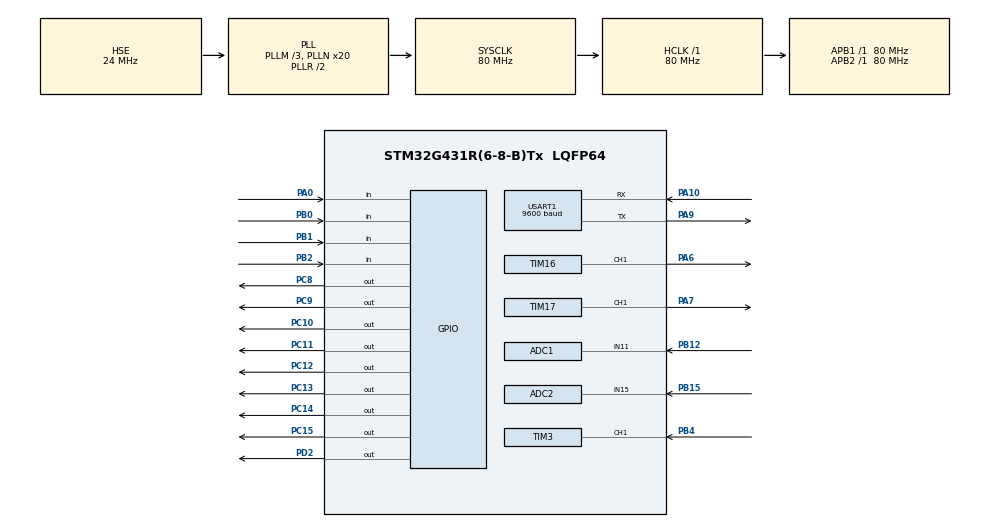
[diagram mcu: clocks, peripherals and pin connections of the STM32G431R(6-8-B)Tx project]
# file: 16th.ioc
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ADC1.Channel-0\#ChannelRegularConversion=ADC_CHANNEL_11
ADC1.NbrOfConversionFlag=1
ADC1.OffsetNumber-0\#ChannelRegularConversion=ADC_OFFSET_NONE
ADC1.Rank-0\#ChannelRegularConversion=1
ADC1.SamplingTime-0\#ChannelRegularConversion=ADC_SAMPLETIME_2CYCLES_5
ADC1.master=1
ADC2.Channel-1\#ChannelRegularConversion=ADC_CHANNEL_15
ADC2.NbrOfConversionFlag=1
ADC2.OffsetNumber-1\#ChannelRegularConversion=ADC_OFFSET_NONE
ADC2.Rank-1\#ChannelRegularConversion=1
ADC2.SamplingTime-1\#ChannelRegularConversion=ADC_SAMPLETIME_2CYCLES_5
Mcu.Family=STM32G4
Mcu.Name=STM32G431R(6-8-B)Tx
Mcu.Package=LQFP64
NVIC.PriorityGroup=NVIC_PRIORITYGROUP_4
NVIC.TIM3_IRQn=true\:0\:0\:false\:false\:true\:true\:true\:true
NVIC.USART1_IRQn=true\:0\:0\:false\:false\:true\:true\:true\:true
PA0.Signal=GPIO_Input
PA10.Mode=Asynchronous
PA10.Signal=USART1_RX
PA13.Mode=Serial_Wire
PA13.Signal=SYS_JTMS-SWDIO
PA14.Mode=Serial_Wire
PA14.Signal=SYS_JTCK-SWCLK
PA6.Signal=S_TIM16_CH1
PA7.Signal=S_TIM17_CH1
PA9.Mode=Asynchronous
PA9.Signal=USART1_TX
PB0.Signal=GPIO_Input
PB1.Signal=GPIO_Input
PB12.Mode=IN11-Single-Ended
PB12.Signal=ADC1_IN11
PB15.Mode=IN15-Single-Ended
PB15.Signal=ADC2_IN15
PB2.Signal=GPIO_Input
PB4.Signal=S_TIM3_CH1
PC10.Signal=GPIO_Output
PC11.Signal=GPIO_Output
PC12.Signal=GPIO_Output
PC13.Signal=GPIO_Output
PC14-OSC32_IN.Signal=GPIO_Output
PC15-OSC32_OUT.Signal=GPIO_Output
PC8.Signal=GPIO_Output
PC9.Signal=GPIO_Output
PD2.Signal=GPIO_Output
PF0-OSC_IN.Mode=HSE-External-Oscillator
PF0-OSC_IN.Signal=RCC_OSC_IN
PF1-OSC_OUT.Mode=HSE-External-Oscillator
PF1-OSC_OUT.Signal=RCC_OSC_OUT
ProjectManager.HeapSize=0x200
ProjectManager.StackSize=0x400
ProjectManager.TargetToolchain=MDK-ARM V5
RCC.ADC12Freq_Value=80000000
RCC.AHBFreq_Value=80000000
RCC.APB1Freq_Value=80000000
RCC.APB1TimFreq_Value=80000000
RCC.APB2Freq_Value=80000000
RCC.APB2TimFreq_Value=80000000
RCC.CortexFreq_Value=80000000
RCC.EXTERNAL_CLOCK_VALUE=12288000
RCC.HCLKFreq_Value=80000000
RCC.HSE_VALUE=24000000
RCC.HSI48_VALUE=48000000
RCC.HSI_VALUE=16000000
RCC.LSE_VALUE=32768
RCC.PLLM=RCC_PLLM_DIV3
RCC.PLLN=20
RCC.PLLSourceVirtual=RCC_PLLSOURCE_HSE
RCC.SYSCLKFreq_VALUE=80000000
RCC.SYSCLKSource=RCC_SYSCLKSOURCE_PLLCLK
RCC.USBFreq_Value=80000000
RCC.VCOOutputFreq_Value=160000000
RTC.AsynchPrediv=127
RTC.Date=15
RTC.Format=RTC_FORMAT_BIN
RTC.Hours=23
RTC.Minutes=59
RTC.Month=RTC_MONTH_JUNE
RTC.Seconds=50
RTC.SynchPrediv=255
RTC.Year=25
SH.S_TIM16_CH1.0=TIM16_CH1,PWM Generation1 CH1
SH.S_TIM17_CH1.0=TIM17_CH1,PWM Generation1 CH1
SH.S_TIM3_CH1.0=TIM3_CH1,Input_Capture1_from_TI1
TIM16.Channel=TIM_CHANNEL_1
TIM16.Prescaler=80-1
TIM17.Channel=TIM_CHANNEL_1
TIM17.PeriodNoDither=100
TIM17.Prescaler=80-1
TIM3.AutoReloadPreload=TIM_AUTORELOAD_PRELOAD_DISABLE
TIM3.Channel-Input_Capture1_from_TI1=TIM_CHANNEL_1
TIM3.Prescaler=80-1
USART1.BaudRate=9600
USART1.VirtualMode-Asynchronous=VM_ASYNC
VP_RTC_VS_RTC_Activate.Mode=RTC_Enabled
VP_RTC_VS_RTC_Calendar.Mode=RTC_Calendar
VP_SYS_VS_DBSignals.Mode=DisableDeadBatterySignals
VP_TIM16_VS_ClockSourceINT.Mode=Enable_Timer
VP_TIM17_VS_ClockSourceINT.Mode=Enable_Timer
VP_TIM3_VS_ClockSourceINT.Mode=Internal
board=custom

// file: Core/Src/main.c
/* USER CODE BEGIN Header */
/**
  ******************************************************************************
  * @file           : main.c
  * @brief          : Main program body
  ******************************************************************************
  * @attention
  *
  * Copyright (c) 2026 STMicroelectronics.
  * All rights reserved.
  *
  * This software is licensed under terms that can be found in the LICENSE file
  * in the root directory of this software component.
  * If no LICENSE file comes with this software, it is provided AS-IS.
  *
  ******************************************************************************
  */
/* USER CODE END Header */
#include "main.h"
#include "adc.h"
#include "rtc.h"
#include "tim.h"
#include "usart.h"
#include "gpio.h"

/* USER CODE BEGIN Includes */
#include "lcd.h"
#include "string.h"
#include "stdio.h"
/* USER CODE END Includes */

/* USER CODE BEGIN PV */
u32 key_time=0;
u32 lcd_time=0;
u8 lcd_state=0;
u8 key_value=0;
u8 key_state=0;
RTC_TimeTypeDef H_M_S_Time;
RTC_DateTypeDef Y_M_D_Time;
RTC_TimeTypeDef H_M_S_setTime;
RTC_DateTypeDef Y_M_D_setTime;
double uart_fre=0;
int uart_duty=0;
int uart_time=0;
char title1[30]="       IDLE   ";
char title2[30]="       PARA   ";
char title3[30]="       OUTP   ";
char title4[30]="       RECD   ";
char str[100]="";
char receiveData[100]="";
char password[30]="";
u8 rx_flg=0;
u32 adc_time=0;
double vol1=0;
double vol2=0;
char mima;
char zidian[26]={'0','1','2','3','4','5','6','7','8','9','A','B','C','D','E','F','X','Y','Z','@','#','$','%','&','=','+'};
u32 ccr=0;
double fre=0;
double fre_fin=0;
double out_fre=10;
double duty=20;
u32 out_time=5;
u8 channel_flg=0;
double ARR=100;
u8 password_flg=0;
char set_password[30]="A35#";
u32 out_flg=0;
u32 pwm_time=0;
u32 rest_time=0;
u32 success_count=0;
double last_s_fre=0;
double last_f_fre=0;
u32 fail_count=0;
u32 mima_wei=0;
RTC_TimeTypeDef H_M_S_last_s_Time;
RTC_TimeTypeDef H_M_S_last_f_Time;
u8 choose_flg=0;
u8 chance_count=3;
u32 fail_time=0;
u8 first_s_flg=0;
u8 first_f_flg=0;
char uart_set_password[30]="";
u8 led1=0;
u8 led2=0;
u8 led3=0;
u8 led_total=0;
u8 blink_flg=0;
u8 blink_mask=0;
u32 blink_time=0;
u8 lock_flg=0;
/* USER CODE END PV */

void SystemClock_Config(void);

/* USER CODE BEGIN 0 */
void key_pro(){
	if(uwTick-key_time<10)return;
	key_time=uwTick;
	key_state=key_scanf();
	if(key_state==1)key_value=1;
	if(key_state==2)key_value=2;
	if(key_state==3)key_value=3;
	if(key_state==4)key_value=4;
	if(key_state==5)key_value=5;
	if(key_state==6)key_value=6;
	if(key_value==1){
		if(lcd_state!=3){
			LCD_Clear(Black);
			lcd_state++;
			if(lcd_state>2)lcd_state=0;
		}
		key_value=0;
	}
	if(key_value==2){
		if(lcd_state==0){
			password[mima_wei]=mima;
			mima_wei++;
		}else if(lcd_state==1){
			choose_flg+=1;
			if(choose_flg>3)choose_flg=0;
		}
		key_value=0;
	}
	if(key_value==3){
		if(lcd_state==0){
			fre_fin=(fre+vol2)/1000;
			if(!strcmp(password,set_password)){
				lcd_state=3;
				LCD_Clear(Black);
				out_flg=1;
				pwm_time=uwTick;
				password_flg=0;
				chance_count=3;
				password_flg=0;
				rest_time=out_time;
				first_s_flg=1;
				H_M_S_last_s_Time.Hours=H_M_S_Time.Hours;
				H_M_S_last_s_Time.Minutes=H_M_S_Time.Minutes;
				H_M_S_last_s_Time.Seconds=H_M_S_Time.Seconds;
				success_count++;
				last_s_fre=fre_fin;
				sprintf(str,"S:%02d%02d%02d%02d%02d%02d",Y_M_D_Time.Year,Y_M_D_Time.Month,Y_M_D_Time.Date,H_M_S_Time.Hours,H_M_S_Time.Minutes,H_M_S_Time.Seconds);
				HAL_UART_Transmit(&huart1,(u8*)str,sizeof(str),0xffff);
			}else{
				lcd_state=3;
				LCD_Clear(Black);
				chance_count--;
				fail_time=uwTick;
				if(chance_count==0)password_flg=2;
				else password_flg=1;
				first_f_flg=1;
				H_M_S_last_f_Time.Hours=H_M_S_Time.Hours;
				H_M_S_last_f_Time.Minutes=H_M_S_Time.Minutes;
				H_M_S_last_f_Time.Seconds=H_M_S_Time.Seconds;
				fail_count++;
				last_f_fre=fre_fin;
				sprintf(str,"F:%02d%02d%02d%02d%02d%02d",Y_M_D_Time.Year,Y_M_D_Time.Month,Y_M_D_Time.Date,H_M_S_Time.Hours,H_M_S_Time.Minutes,H_M_S_Time.Seconds);
				HAL_UART_Transmit(&huart1,(u8*)str,sizeof(str),0xffff);
			}
		}else if(lcd_state==1){
			switch(choose_flg){
				case 0:
					out_fre++;
				break;
				case 1:
					duty+=5;
				break;
				case 2:
					out_time++;
				break;
				case 3:
					channel_flg^=1;
				break;
			}
		}
		key_value=0;
	}
	if(key_value==4){
		if(lcd_state==1){
			switch(choose_flg){
				case 0:
					out_fre--;
				break;
				case 1:
					duty-=5;
				break;
				case 2:
					out_time--;
				break;
				case 3:
					channel_flg^=1;
				break;
			}
		}
		key_value=0;
	}
	if(key_value==5){
		if(lcd_state==0){
			memset(password,0,sizeof(password));
			mima_wei=0;
		}
		if(lcd_state==2){
			if(qingkong_flg==1){
				first_f_flg=0;
				first_s_flg=0;
				fail_count=0;
				success_count=0;
			}
		}
		key_value=0;
	}

}
void lcd_pro(){
	if(uwTick-lcd_time<100)return;
	lcd_time=uwTick;
	HAL_RTC_GetTime(&hrtc,&H_M_S_Time,RTC_FORMAT_BIN);
	HAL_RTC_GetDate(&hrtc,&Y_M_D_Time,RTC_FORMAT_BIN);
	if(lcd_state==0){

		LCD_DisplayStringLine(Line1,(u8*)title1);
		sprintf(str,"     UN:%s                   ",password);
		LCD_DisplayStringLine(Line3,(u8*)str);
		sprintf(str,"     %02d-%02d-%02d      ",Y_M_D_Time.Year,Y_M_D_Time.Month,Y_M_D_Time.Date);
		LCD_DisplayStringLine(Line5,(u8*)str);
		sprintf(str,"     %02d:%02d:%02d       ",H_M_S_Time.Hours,H_M_S_Time.Minutes,H_M_S_Time.Seconds);
		LCD_DisplayStringLine(Line6,(u8*)str);
		sprintf(str,"     PASS:%c  ",mima);
		LCD_DisplayStringLine(Line7,(u8*)str);
	}else if(lcd_state==1){

			LCD_DisplayStringLine(Line1,(u8*)title2);
			sprintf(str,"     F:%.1fKHz  ",out_fre);
			LCD_DisplayStringLine(Line3,(u8*)str);
			sprintf(str,"     D:%.0f%%  ",duty);
			LCD_DisplayStringLine(Line4,(u8*)str);
			sprintf(str,"     T:%d  ",out_time);
			LCD_DisplayStringLine(Line5,(u8*)str);
			if(channel_flg==0)
			sprintf(str,"     CH:PA6  ");
			else sprintf(str,"     CH:PA7  ");
			LCD_DisplayStringLine(Line6,(u8*)str);

	}else if(lcd_state==2){
		LCD_DisplayStringLine(Line1,(u8*)title4);
		if(first_s_flg==0){
			sprintf(str,"  SN=NA                ");
			LCD_DisplayStringLine(Line3,(u8*)str);
			sprintf(str,"  ST=NA                ");
			LCD_DisplayStringLine(Line4,(u8*)str);
		}else {
			sprintf(str,"  SN=%d     ",success_count);
			LCD_DisplayStringLine(Line3,(u8*)str);
			sprintf(str,"  ST=%.1f@%d:%d:%d     ",last_s_fre,H_M_S_last_s_Time.Hours,H_M_S_last_s_Time.Minutes,H_M_S_last_s_Time.Seconds);
			LCD_DisplayStringLine(Line4,(u8*)str);
		}
		if(first_f_flg==0){
			sprintf(str,"  FN=NA                      ");
			LCD_DisplayStringLine(Line5,(u8*)str);
			sprintf(str,"  FT=NA                       ");
			LCD_DisplayStringLine(Line6,(u8*)str);
		}else {
			sprintf(str,"  FN=%d     ",fail_count);
			LCD_DisplayStringLine(Line5,(u8*)str);
			sprintf(str,"  FT=%.1f@%d:%d:%d     ",last_f_fre,H_M_S_last_f_Time.Hours,H_M_S_last_f_Time.Minutes,H_M_S_last_f_Time.Seconds);
			LCD_DisplayStringLine(Line6,(u8*)str);
		}
	}else if(lcd_state==3){
		LCD_DisplayStringLine(Line1,(u8*)title3);
		if(password_flg==0){
			sprintf(str,"     T:%02d   ",rest_time);
			LCD_DisplayStringLine(Line3,(u8*)str);
			sprintf(str,"     OF:%.1fKHz   ",out_fre);
			LCD_DisplayStringLine(Line4,(u8*)str);
			sprintf(str,"     OD:%.0f%%   ",duty);
			LCD_DisplayStringLine(Line5,(u8*)str);
			fre_fin=(fre+vol2)/1000;
			sprintf(str,"     CF:%.1fKHz   ",fre_fin);
			LCD_DisplayStringLine(Line6,(u8*)str);
		}else if(password_flg==1){

			sprintf(str,"       FAIL       ");
			LCD_DisplayStringLine(Line3,(u8*)str);
			sprintf(str,"      RETRY:%d          ",chance_count);
			LCD_DisplayStringLine(Line4,(u8*)str);
			if(uwTick-fail_time>3000){
				lcd_state=0;
				LCD_Clear(Black);
				memset(password,0,sizeof(password));
				mima_wei=0;
			}
		}else {
			lock_flg=1;
			sprintf(str,"       LOCK       ");
			LCD_DisplayStringLine(Line3,(u8*)str);
			sprintf(str,"      RETRY:%d          ",chance_count);
			LCD_DisplayStringLine(Line4,(u8*)str);
			sprintf(str,"      WAIT:%02d          ",10-((uwTick-fail_time)/1000));
			LCD_DisplayStringLine(Line5,(u8*)str);
			if(uwTick-fail_time>10000){
				lcd_state=0;
				LCD_Clear(Black);
				chance_count=3;
				memset(password,0,sizeof(password));
				mima_wei=0;
				lock_flg=0;
			}
		}
	}
}
void HAL_UARTEx_RxEventCallback(UART_HandleTypeDef *huart, uint16_t Size){
	if(huart==&huart1){
		receiveData[Size]='\0';
		rx_flg=1;
		HAL_UARTEx_ReceiveToIdle_IT(&huart1,(u8*)receiveData,sizeof(receiveData));
	}
}
void rx_pro(){
	if(rx_flg==1){
		int tmp_hour, tmp_min, tmp_sec;
		int tmp_year, tmp_month, tmp_date;
		if(sscanf(receiveData,"TIME:%02d%02d%02d",&H_M_S_setTime.Hours,&H_M_S_setTime.Minutes,&H_M_S_setTime.Seconds)==3){
			HAL_RTC_SetTime(&hrtc,&H_M_S_setTime,RTC_FORMAT_BIN);
			HAL_UART_Transmit(&huart1,(u8*)"OK",strlen("OK"),0xffff);
		}else if(!strcmp(receiveData,"?")){
			HAL_UART_Transmit(&huart1,(u8*)set_password,strlen(set_password),0xffff);
		}else if(sscanf(receiveData,"SET:%s",uart_set_password)==1){
			if(strlen(uart_set_password)<=10){
				strcpy(set_password,uart_set_password);
				HAL_UART_Transmit(&huart1,(u8*)"OK",strlen("OK"),0xffff);
			}else HAL_UART_Transmit(&huart1,(u8*)"ERROR",strlen("ERROR"),0xffff);
		}else if(sscanf(receiveData,"DATE:%02d%02d%02d", &tmp_year, &tmp_month, &tmp_date)==3){
            // 【修改点 3】：日期提取成功后，再赋值给 8 位的 RTC 结构体
            Y_M_D_setTime.Year = tmp_year;
            Y_M_D_setTime.Month = tmp_month;
            Y_M_D_setTime.Date = tmp_date;

			HAL_RTC_SetDate(&hrtc,&Y_M_D_setTime,RTC_FORMAT_BIN);
			HAL_UART_Transmit(&huart1,(u8*)"OK",strlen("OK"),0xffff);

		}else if(sscanf(receiveData,"PA6:%lf:%d%%:%d",&uart_fre,&uart_duty,&uart_time)==3){
				out_fre=uart_fre/1000;
				duty=uart_duty;
				rest_time=uart_time;
				channel_flg=0;
				out_flg=1;
				pwm_time=uwTick;
			}else if(sscanf(receiveData,"PA7:%lf:%d%%:%d",&uart_fre,&uart_duty,&uart_time)==3){
				out_fre=uart_fre/1000;
				duty=uart_duty;
				rest_time=uart_time;
				channel_flg=1;
				out_flg=1;
				pwm_time=uwTick;
			}
		else{
			HAL_UART_Transmit(&huart1,(u8*)"ERROR",strlen("ERROR"),0xffff);
		}
	rx_flg=0;
	}

}
void adc_pro(){
	u32 vol=0;
	if(uwTick-adc_time<100)return;
	adc_time=uwTick;
	HAL_ADC_Start(&hadc1);
	HAL_ADC_Start(&hadc2);
	HAL_ADC_PollForConversion(&hadc1,1000);
	HAL_ADC_PollForConversion(&hadc2,1000);
	vol2=(HAL_ADC_GetValue(&hadc2)*3.3/4096)*(500/1.65)-500;
	vol1=HAL_ADC_GetValue(&hadc1)*255/4096;
	vol=vol1/10;
	mima=zidian[vol];
}
void HAL_TIM_IC_CaptureCallback(TIM_HandleTypeDef *htim){
	if(htim==&htim3){
		if(htim->Channel==HAL_TIM_ACTIVE_CHANNEL_1){
			ccr=HAL_TIM_ReadCapturedValue(&htim3,TIM_CHANNEL_1);
			TIM3->CNT=0;
			fre=1000000/ccr;
		}
	}
}
void pwm_pro(){
	ARR=1000000/(out_fre*1000);

	if(out_flg==0){
		__HAL_TIM_SetCompare(&htim17,TIM_CHANNEL_1,0);
		__HAL_TIM_SetCompare(&htim16,TIM_CHANNEL_1,0);
	}else{
		if(channel_flg==0){
			__HAL_TIM_SetCompare(&htim17,TIM_CHANNEL_1,0);
			__HAL_TIM_SetAutoreload(&htim16,ARR);
			__HAL_TIM_SetCompare(&htim16,TIM_CHANNEL_1,duty/100*ARR);
		}else{
			__HAL_TIM_SetCompare(&htim16,TIM_CHANNEL_1,0);
			__HAL_TIM_SetAutoreload(&htim17,ARR);
			__HAL_TIM_SetCompare(&htim17,TIM_CHANNEL_1,duty/100*ARR);
		}
		if(uwTick-pwm_time>1000){
			rest_time-=1;
			pwm_time=uwTick;
		}
		if(rest_time==0){
			out_flg=0;
			if(lcd_state==3){
				lcd_state=0;
				LCD_Clear(Black);
				memset(password,0,sizeof(password));
				mima_wei=0;
			}
		}
	}
}
void led_disp(u8 led_num){
	HAL_GPIO_WritePin(GPIOC,GPIO_PIN_8|GPIO_PIN_9|GPIO_PIN_10|GPIO_PIN_11|GPIO_PIN_12|GPIO_PIN_13|GPIO_PIN_14|GPIO_PIN_15,GPIO_PIN_SET);
	HAL_GPIO_WritePin(GPIOD,GPIO_PIN_2,GPIO_PIN_SET);
	HAL_GPIO_WritePin(GPIOD,GPIO_PIN_2,GPIO_PIN_RESET);
	HAL_GPIO_WritePin(GPIOC,led_num<<8,GPIO_PIN_RESET);
	HAL_GPIO_WritePin(GPIOD,GPIO_PIN_2,GPIO_PIN_SET);
	HAL_GPIO_WritePin(GPIOD,GPIO_PIN_2,GPIO_PIN_RESET);
}
void led_blink(){
	if(uwTick-blink_time<200)return;
	blink_time=uwTick;
	blink_flg^=1;
}
void led_app(){
	if(out_flg==1)led1=0x01;
	else led1=0;
	if(lock_flg==1)led2=0x02;
	else led2=0;
	if(lcd_state==0&&!HAL_GPIO_ReadPin(GPIOA,GPIO_PIN_0)){
		led_blink();
		led3=blink_flg? 0:0x04;
	}else led3=0;
	led_total=led1|led2|led3;
	led_disp(led_total);
}
/* USER CODE END 0 */

int main(void)
{

  /* MCU Configuration--------------------------------------------------------*/

  /* Reset of all peripherals, Initializes the Flash interface and the Systick. */
  HAL_Init();

  /* Configure the system clock */
  SystemClock_Config();

  /* Initialize all configured peripherals */
  MX_GPIO_Init();
  MX_ADC1_Init();
  MX_ADC2_Init();
  MX_RTC_Init();
  MX_TIM3_Init();
  MX_TIM16_Init();
  MX_TIM17_Init();
  MX_USART1_UART_Init();
  /* USER CODE BEGIN 2 */
	LCD_Init();
	LCD_Clear(Black);
	LCD_SetBackColor(Black);
	LCD_SetTextColor(White);
	HAL_UARTEx_ReceiveToIdle_IT(&huart1,(u8*)receiveData,sizeof(receiveData));
	HAL_ADCEx_Calibration_Start(&hadc1,ADC_SINGLE_ENDED);
	HAL_ADCEx_Calibration_Start(&hadc2,ADC_SINGLE_ENDED);
	HAL_TIM_IC_Start_IT(&htim3,TIM_CHANNEL_1);
	HAL_TIM_PWM_Start(&htim16,TIM_CHANNEL_1);
	HAL_TIM_PWM_Start(&htim17,TIM_CHANNEL_1);
	led_disp(0);
  /* USER CODE END 2 */

  /* Infinite loop */
  /* USER CODE BEGIN WHILE */
  while (1)
  {
    key_pro();
	adc_pro();
	lcd_pro();
	 pwm_pro();
	rx_pro();
	  led_app();
    /* USER CODE END WHILE */

  }
}

void SystemClock_Config(void)
{
  RCC_OscInitTypeDef RCC_OscInitStruct = {0};
  RCC_ClkInitTypeDef RCC_ClkInitStruct = {0};

  /** Configure the main internal regulator output voltage
  */
  HAL_PWREx_ControlVoltageScaling(PWR_REGULATOR_VOLTAGE_SCALE1);

  /** Initializes the RCC Oscillators according to the specified parameters
  * in the RCC_OscInitTypeDef structure.
  */
  RCC_OscInitStruct.OscillatorType = RCC_OSCILLATORTYPE_LSI|RCC_OSCILLATORTYPE_HSE;
  RCC_OscInitStruct.HSEState = RCC_HSE_ON;
  RCC_OscInitStruct.LSIState = RCC_LSI_ON;
  RCC_OscInitStruct.PLL.PLLState = RCC_PLL_ON;
  RCC_OscInitStruct.PLL.PLLSource = RCC_PLLSOURCE_HSE;
  RCC_OscInitStruct.PLL.PLLM = RCC_PLLM_DIV3;
  RCC_OscInitStruct.PLL.PLLN = 20;
  RCC_OscInitStruct.PLL.PLLP = RCC_PLLP_DIV2;
  RCC_OscInitStruct.PLL.PLLQ = RCC_PLLQ_DIV2;
  RCC_OscInitStruct.PLL.PLLR = RCC_PLLR_DIV2;
  if (HAL_RCC_OscConfig(&RCC_OscInitStruct) != HAL_OK)
  {
    Error_Handler();
  }

  /** Initializes the CPU, AHB and APB buses clocks
  */
  RCC_ClkInitStruct.ClockType = RCC_CLOCKTYPE_HCLK|RCC_CLOCKTYPE_SYSCLK
                              |RCC_CLOCKTYPE_PCLK1|RCC_CLOCKTYPE_PCLK2;
  RCC_ClkInitStruct.SYSCLKSource = RCC_SYSCLKSOURCE_PLLCLK;
  RCC_ClkInitStruct.AHBCLKDivider = RCC_SYSCLK_DIV1;
  RCC_ClkInitStruct.APB1CLKDivider = RCC_HCLK_DIV1;
  RCC_ClkInitStruct.APB2CLKDivider = RCC_HCLK_DIV1;

  if (HAL_RCC_ClockConfig(&RCC_ClkInitStruct, FLASH_LATENCY_2) != HAL_OK)
  {
    Error_Handler();
  }
}

void Error_Handler(void)
{
  __disable_irq();
  while (1)
  {
  }
}
